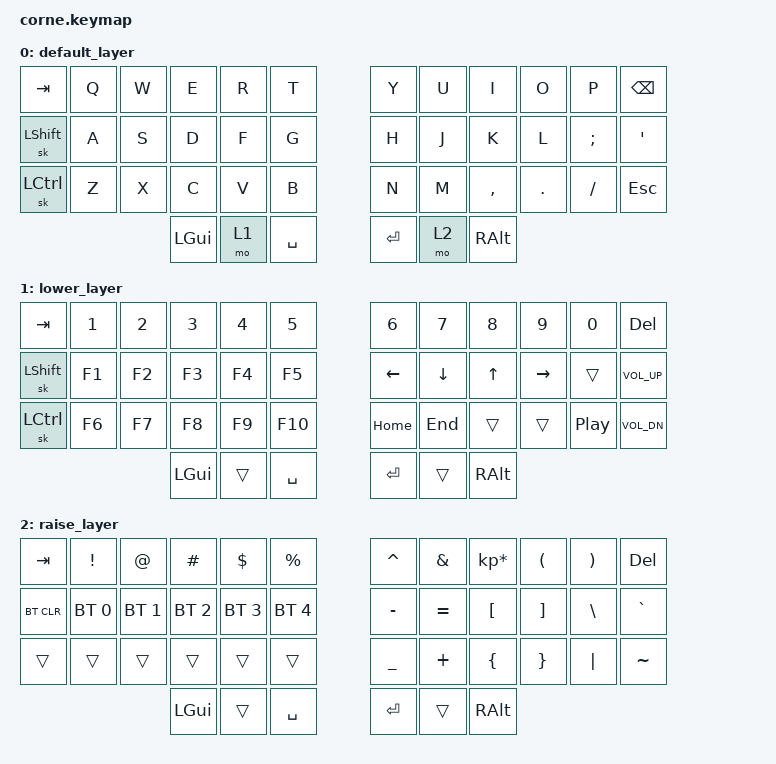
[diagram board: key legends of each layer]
/*
 * Copyright (c) 2020 The ZMK Contributors
 *
 * SPDX-License-Identifier: MIT
 */

#include <behaviors.dtsi>
#include <dt-bindings/zmk/bt.h>
#include <dt-bindings/zmk/keys.h>

&nice_view_spi { cs-gpios = <&pro_micro 16 GPIO_ACTIVE_HIGH>; };

/ {
    keymap {
        compatible = "zmk,keymap";

        default_layer {
            // -----------------------------------------------------------------------------------------
            // |  TAB |  Q  |  W  |  E  |  R  |  T  |   |  Y  |  U   |  I  |  O  |  P  | BKSP |
            // | CTRL |  A  |  S  |  D  |  F  |  G  |   |  H  |  J   |  K  |  L  |  ;  |  '   |
            // | SHFT |  Z  |  X  |  C  |  V  |  B  |   |  N  |  M   |  ,  |  .  |  /  | ESC  |
            //                    | GUI | LWR | SPC |   | ENT | RSE  | ALT |

            bindings = <
&kp TAB         &kp Q  &kp W  &kp E     &kp R  &kp T        &kp Y    &kp U  &kp I      &kp O    &kp P     &kp BSPC
&sk LEFT_SHIFT  &kp A  &kp S  &kp D     &kp F  &kp G        &kp H    &kp J  &kp K      &kp L    &kp SEMI  &kp SQT
&sk LCTRL       &kp Z  &kp X  &kp C     &kp V  &kp B        &kp N    &kp M  &kp COMMA  &kp DOT  &kp FSLH  &kp ESC
                              &kp LGUI  &mo 1  &kp SPACE    &kp RET  &mo 2  &kp RALT
            >;
        };

        lower_layer {
            // -----------------------------------------------------------------------------------------
            // |  TAB |  1  |  2  |  3  |  4  |  5  |   |  6  |  7  |  8  |  9  |  0  | BKSP |
            // | BTCLR| BT1 | BT2 | BT3 | BT4 | BT5 |   | LFT | DWN |  UP | RGT |     |      |
            // | SHFT |     |     |     |     |     |   |     |     |     |     |     |      |
            //                    | GUI |     | SPC |   | ENT |     | ALT |

            bindings = <
&kp TAB         &kp N1  &kp N2  &kp N3    &kp N4  &kp N5       &kp N6    &kp N7    &kp N8    &kp N9     &kp N0            &kp DELETE
&sk LEFT_SHIFT  &kp F1  &kp F2  &kp F3    &kp F4  &kp F5       &kp LEFT  &kp DOWN  &kp UP    &kp RIGHT  &trans            &kp C_VOL_UP
&sk LCTRL       &kp F6  &kp F7  &kp F8    &kp F9  &kp F10      &kp HOME  &kp END   &trans    &trans     &kp C_PLAY_PAUSE  &kp C_VOL_DN
                                &kp LGUI  &trans  &kp SPACE    &kp RET   &trans    &kp RALT
            >;
        };

        raise_layer {
            // -----------------------------------------------------------------------------------------
            // |  TAB |  !  |  @  |  #  |  $  |  %  |   |  ^  |  &  |  *  |  (  |  )  | BKSP |
            // | CTRL |     |     |     |     |     |   |  -  |  =  |  [  |  ]  |  \  |  `   |
            // | SHFT |     |     |     |     |     |   |  _  |  +  |  {  |  }  | "|" |  ~   |
            //                    | GUI |     | SPC |   | ENT |     | ALT |

            bindings = <
&kp TAB     &kp EXCL      &kp AT        &kp HASH      &kp DLLR      &kp PRCNT       &kp CARET  &kp AMPS   &kp KP_MULTIPLY  &kp LPAR  &kp RPAR  &kp DELETE
&bt BT_CLR  &bt BT_SEL 0  &bt BT_SEL 1  &bt BT_SEL 2  &bt BT_SEL 3  &bt BT_SEL 4    &kp MINUS  &kp EQUAL  &kp LBKT         &kp RBKT  &kp BSLH  &kp GRAVE
&trans      &trans        &trans        &trans        &trans        &trans          &kp UNDER  &kp PLUS   &kp LBRC         &kp RBRC  &kp PIPE  &kp TILDE
                                        &kp LGUI      &trans        &kp SPACE       &kp RET    &trans     &kp RALT
            >;
        };
    };
};
